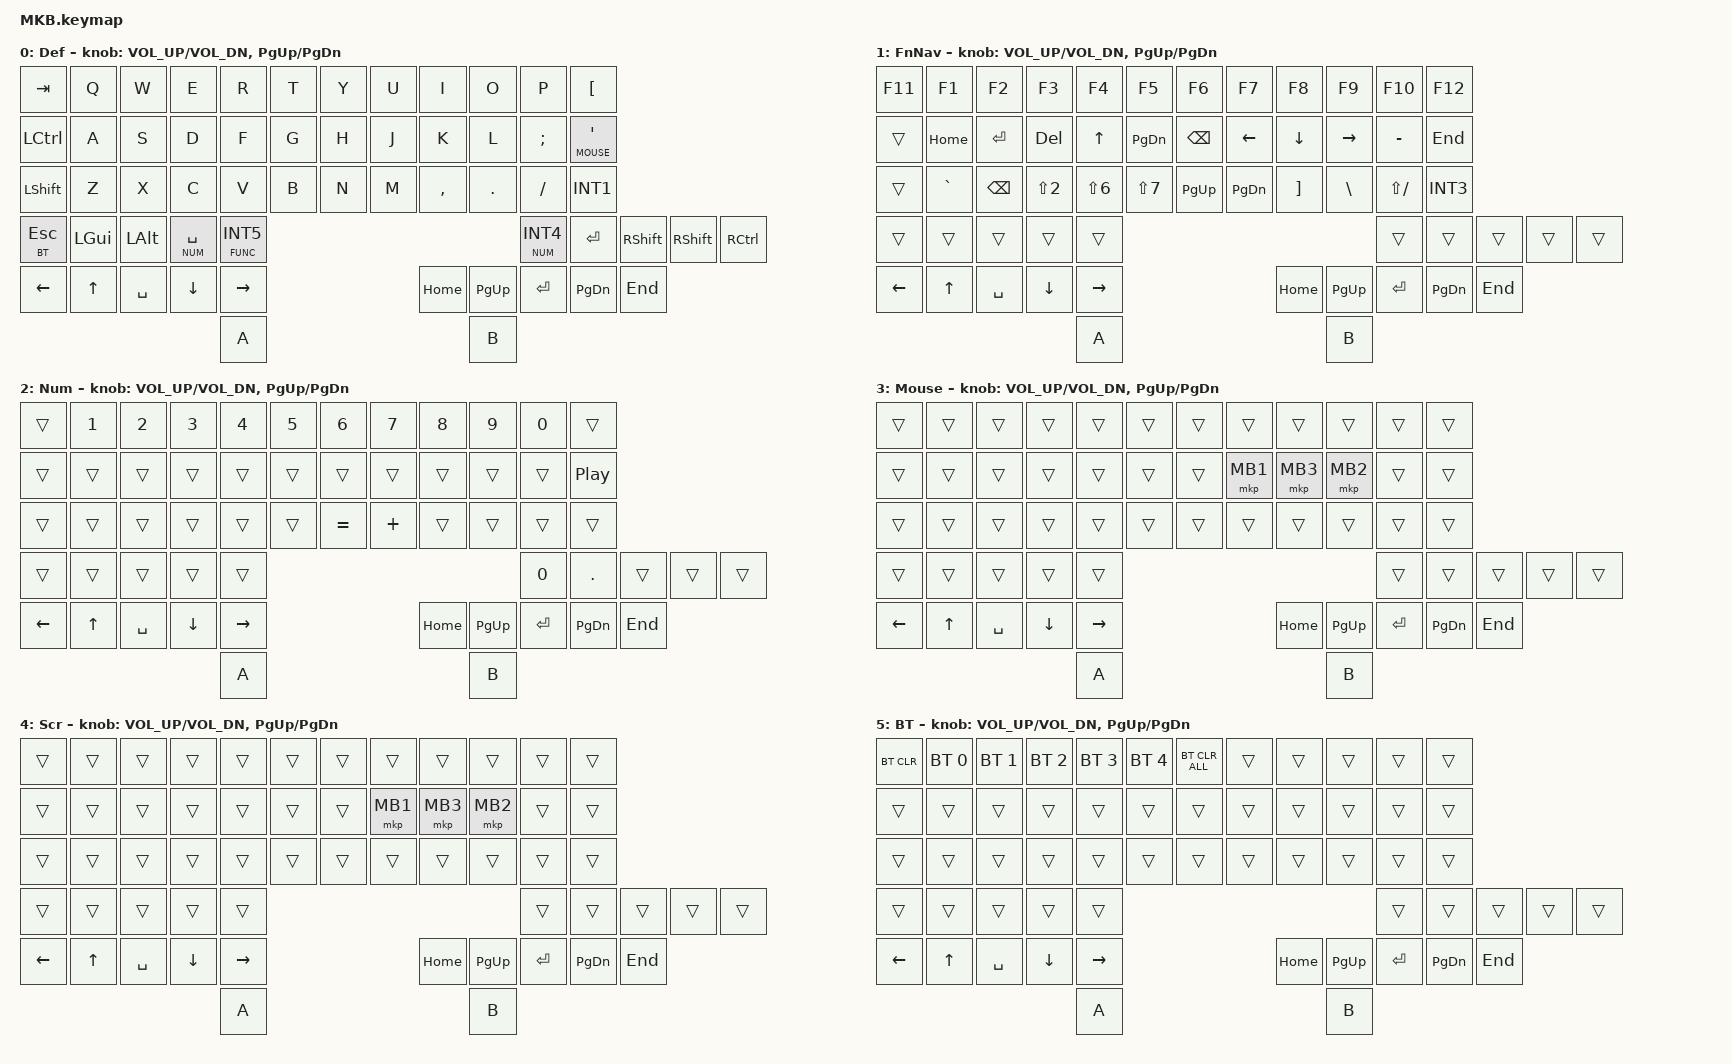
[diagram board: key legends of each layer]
// Port of C:/Users/noran/qmk_firmware/keyboards/ergodox_ez/keymaps/niko/keymap.c
// to the MeKaBu 46-key layout.

#include <behaviors.dtsi>
#include <dt-bindings/zmk/bt.h>
#include <dt-bindings/zmk/keys.h>
#include <dt-bindings/zmk/pointing.h>
#include <layout_shift_kp_override.dtsi>

#define DEF 0
#define FUNC 1
#define NUM 2
#define MOUSE 3
#define SCROLL 4
#define BT 5

&mt {
    flavor = "balanced";
    tapping-term-ms = <280>;
    quick-tap-ms = <175>;
    require-prior-idle-ms = <150>;
};

/ {
    behaviors {
        // Match the ErgoDox LT1MU behavior:
        // tap = Muhenkan, hold = FUNC, interrupted press = hold immediately.
        lt_mu: layer_tap_muhenkan {
            compatible = "zmk,behavior-hold-tap";
            #binding-cells = <2>;
            flavor = "hold-preferred";
            tapping-term-ms = <170>;
            quick-tap-ms = <0>;
            bindings = <&mo>, <&kp>;
        };
    };

    keymap {
        compatible = "zmk,keymap";

        default_layer {
            label = "Def";
            bindings = <
//  Tab    Q      W      E      R      T          Y      U      I      O      P      @/[ key
&kp TAB    &kp Q  &kp W  &kp E  &kp R  &kp T     &kp Y  &kp U  &kp I  &kp O  &kp P  &kp LBKT
//  Ctrl   A      S      D      F      G          H      J      K      L      ;      '/Mouse
&kp LCTL   &kp A  &kp S  &kp D  &kp F  &kp G     &kp H  &kp J  &kp K  &kp L  &kp SEMI  &lt MOUSE SQT
//  Shift  Z      X      C      V      B          N      M      ,      .      /      Ro
&kp LSHFT  &kp Z  &kp X  &kp C  &kp V  &kp B     &kp N  &kp M  &kp COMMA  &kp DOT  &kp FSLH  &kp INT1
//  Esc/BT GUI    Alt           Space/Num  Muhenkan/Fn   Henkan/Num  Enter          RShift RShift RCtrl
&lt BT ESC  &kp LGUI  &kp LALT  &lt NUM SPACE  &lt_mu FUNC INT5     &lt NUM INT4  &kp ENTER  &kp RSHFT  &kp RSHFT  &kp RCTL
//  Optional module key positions (kept from the MeKaBu defaults)
&kp LEFT   &kp UP  &kp SPACE  &kp DOWN  &kp RIGHT     &kp HOME  &kp PG_UP  &kp ENTER  &kp PG_DN  &kp END
                              &kp A                                      &kp B
            >;

            sensor-bindings = <&inc_dec_kp C_VOL_UP C_VOL_DN &inc_dec_kp PG_UP PG_DN>;
        };

        function_layer {
            label = "FnNav";
            bindings = <
//  F11    F1     F2     F3     F4     F5         F6     F7     F8     F9     F10    F12
&kp F11    &kp F1  &kp F2  &kp F3  &kp F4  &kp F5     &kp F6  &kp F7  &kp F8  &kp F9  &kp F10  &kp F12
//         Home   Enter  Del    Up     PgDn       Bksp   Left   Down   Right  Minus  End
&trans     &kp HOME  &kp ENTER  &kp DEL  &kp UP  &kp PG_DN     &kp BKSP  &kp LEFT  &kp DOWN  &kp RIGHT  &kp MINUS  &kp END
//         Grave  Bksp   Shift+2 Shift+6 Shift+7  PgUp   PgDn   ]      Backslash  ?   Yen
&trans     &kp GRAVE  &kp BKSP  &kp LS(N2)  &kp LS(N6)  &kp LS(N7)     &kp PG_UP  &kp PG_DN  &kp RBKT  &kp BSLH  &kp LS(FSLH)  &kp INT3
&trans     &trans  &trans       &trans  &trans     &trans  &trans      &trans  &trans  &trans
&kp LEFT   &kp UP  &kp SPACE  &kp DOWN  &kp RIGHT     &kp HOME  &kp PG_UP  &kp ENTER  &kp PG_DN  &kp END
                              &kp A                                      &kp B
            >;

            sensor-bindings = <&inc_dec_kp C_VOL_UP C_VOL_DN &inc_dec_kp PG_UP PG_DN>;
        };

        num_layer {
            label = "Num";
            bindings = <
//           1       2       3       4       5          6       7       8       9       0
&trans       &kp N1  &kp N2  &kp N3  &kp N4  &kp N5     &kp N6  &kp N7  &kp N8  &kp N9  &kp N0  &trans
&trans       &trans  &trans  &trans  &trans  &trans     &trans  &trans  &trans  &trans  &trans  &kp C_PLAY_PAUSE
&trans       &trans  &trans  &trans  &trans  &trans     &kp EQUAL  &kp PLUS  &trans  &trans  &trans  &trans
&trans       &trans  &trans          &trans  &trans     &kp N0  &kp DOT       &trans  &trans  &trans
&kp LEFT     &kp UP  &kp SPACE  &kp DOWN  &kp RIGHT     &kp HOME  &kp PG_UP  &kp ENTER  &kp PG_DN  &kp END
                                  &kp A                                      &kp B
            >;

            sensor-bindings = <&inc_dec_kp C_VOL_UP C_VOL_DN &inc_dec_kp PG_UP PG_DN>;
        };

        mouse_layer {
            label = "Mouse";
            bindings = <
&trans    &trans  &trans  &trans  &trans  &trans     &trans  &trans    &trans    &trans    &trans  &trans
&trans    &trans  &trans  &trans  &trans  &trans     &trans  &mkp MB1  &mkp MB3  &mkp MB2  &trans  &trans
&trans    &trans  &trans  &trans  &trans  &trans     &trans  &trans    &trans    &trans    &trans  &trans
&trans    &trans  &trans          &trans  &trans     &trans  &trans              &trans  &trans  &trans
&kp LEFT  &kp UP  &kp SPACE  &kp DOWN  &kp RIGHT     &kp HOME  &kp PG_UP  &kp ENTER  &kp PG_DN  &kp END
                              &kp A                                      &kp B
            >;

            sensor-bindings = <&inc_dec_kp C_VOL_UP C_VOL_DN &inc_dec_kp PG_UP PG_DN>;
        };

        scroll_layer {
            label = "Scr";
            bindings = <
&trans    &trans  &trans  &trans  &trans  &trans     &trans  &trans    &trans    &trans    &trans  &trans
&trans    &trans  &trans  &trans  &trans  &trans     &trans  &mkp MB1  &mkp MB3  &mkp MB2  &trans  &trans
&trans    &trans  &trans  &trans  &trans  &trans     &trans  &trans    &trans    &trans    &trans  &trans
&trans    &trans  &trans          &trans  &trans     &trans  &trans              &trans  &trans  &trans
&kp LEFT  &kp UP  &kp SPACE  &kp DOWN  &kp RIGHT     &kp HOME  &kp PG_UP  &kp ENTER  &kp PG_DN  &kp END
                              &kp A                                      &kp B
            >;

            sensor-bindings = <&inc_dec_kp C_VOL_UP C_VOL_DN &inc_dec_kp PG_UP PG_DN>;
        };

        bt_layer {
            label = "BT";
            bindings = <
&bt BT_CLR  &bt BT_SEL 0  &bt BT_SEL 1  &bt BT_SEL 2  &bt BT_SEL 3  &bt BT_SEL 4     &bt BT_CLR_ALL  &trans  &trans  &trans  &trans  &trans
&trans      &trans        &trans        &trans        &trans        &trans           &trans          &trans  &trans  &trans  &trans  &trans
&trans      &trans        &trans        &trans        &trans        &trans           &trans          &trans  &trans  &trans  &trans  &trans
&trans      &trans        &trans                      &trans        &trans           &trans          &trans          &trans  &trans  &trans
&kp LEFT    &kp UP        &kp SPACE     &kp DOWN      &kp RIGHT                     &kp HOME  &kp PG_UP  &kp ENTER  &kp PG_DN  &kp END
                                        &kp A                                                 &kp B
            >;

            sensor-bindings = <&inc_dec_kp C_VOL_UP C_VOL_DN &inc_dec_kp PG_UP PG_DN>;
        };
    };
};
